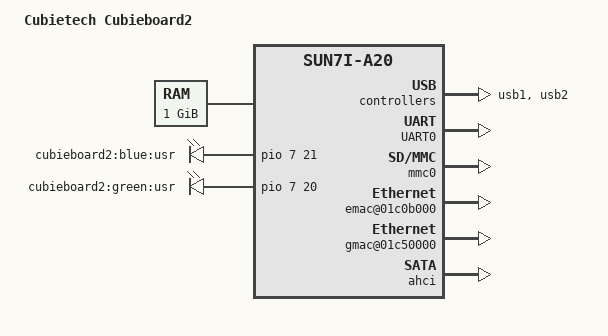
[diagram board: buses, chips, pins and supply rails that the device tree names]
/*-
 * Copyright (c) 2013 Ganbold Tsagaankhuu <ganbold@freebsd.org>
 * All rights reserved.
 *
 * Redistribution and use in source and binary forms, with or without
 * modification, are permitted provided that the following conditions
 * are met:
 * 1. Redistributions of source code must retain the above copyright
 *    notice, this list of conditions and the following disclaimer.
 * 2. Redistributions in binary form must reproduce the above copyright
 *    notice, this list of conditions and the following disclaimer in the
 *    documentation and/or other materials provided with the distribution.
 *
 * THIS SOFTWARE IS PROVIDED BY THE AUTHOR AND CONTRIBUTORS ``AS IS'' AND
 * ANY EXPRESS OR IMPLIED WARRANTIES, INCLUDING, BUT NOT LIMITED TO, THE
 * IMPLIED WARRANTIES OF MERCHANTABILITY AND FITNESS FOR A PARTICULAR PURPOSE
 * ARE DISCLAIMED.  IN NO EVENT SHALL THE AUTHOR OR CONTRIBUTORS BE LIABLE
 * FOR ANY DIRECT, INDIRECT, INCIDENTAL, SPECIAL, EXEMPLARY, OR CONSEQUENTIAL
 * DAMAGES (INCLUDING, BUT NOT LIMITED TO, PROCUREMENT OF SUBSTITUTE GOODS
 * OR SERVICES; LOSS OF USE, DATA, OR PROFITS; OR BUSINESS INTERRUPTION)
 * HOWEVER CAUSED AND ON ANY THEORY OF LIABILITY, WHETHER IN CONTRACT, STRICT
 * LIABILITY, OR TORT (INCLUDING NEGLIGENCE OR OTHERWISE) ARISING IN ANY WAY
 * OUT OF THE USE OF THIS SOFTWARE, EVEN IF ADVISED OF THE POSSIBILITY OF
 * SUCH DAMAGE.
 * 
 * $FreeBSD$
 */

/dts-v1/;

/include/ "sun7i-a20.dtsi"

#include <dt-bindings/gpio/gpio.h>

/ {
	model = "Cubietech Cubieboard2";

	memory {
		device_type = "memory";
		reg = < 0x40000000 0x40000000 >;	/* 1GB RAM */
	};

	aliases {
		soc = &SOC;
		UART0 = &UART0;
	};

	SOC: a20 {

		usb1: usb@01c14000 {
			status = "okay";
		};

		usb2: usb@01c1c000 {
			status = "okay";
		};

		UART0: serial@01c28000 {
			status = "okay";
		};

		mmc0: mmc@01c0f000 {
			status = "okay";
		};

		emac@01c0b000 {
			status = "okay";
		};

		gmac@01c50000 {
			status = "okay";
		};

		ahci: sata@01c18000 {
			status = "okay";
		};
	};

	leds {
		compatible = "gpio-leds";

		blue {
			label = "cubieboard2:blue:usr";
			gpios = <&pio 7 21 GPIO_ACTIVE_HIGH>;
		};

		green {
			label = "cubieboard2:green:usr";
			gpios = <&pio 7 20 GPIO_ACTIVE_HIGH>;
		};
	};

	chosen {
		bootargs = "-v";
		stdin = "UART0";
		stdout = "UART0";
	};
};

